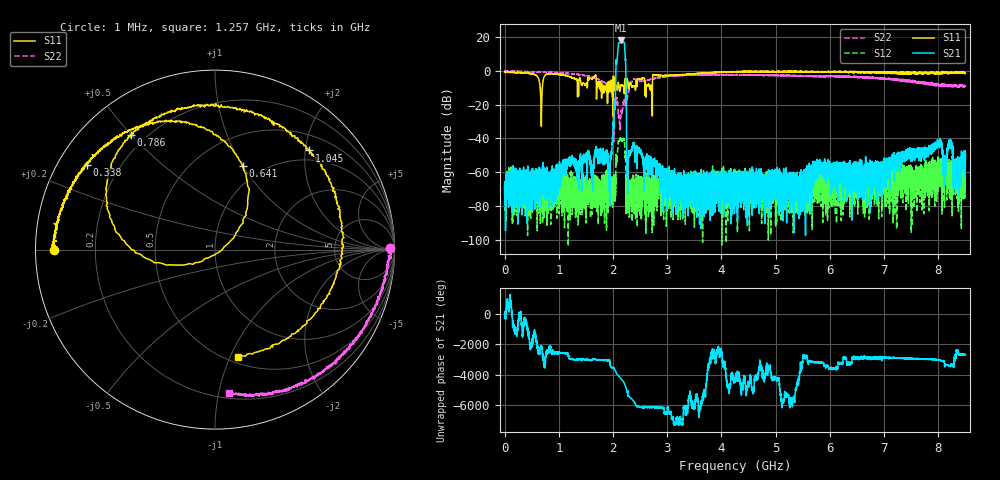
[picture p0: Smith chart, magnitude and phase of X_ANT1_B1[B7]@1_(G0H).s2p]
#  HZ  S  RI  R  50.00
! Rohde & Schwarz Vector Network Analyzer
! Rohde-Schwarz,ZNBT8-20Port,1318700624101681,3.50
! Created: UTC 7/15/2025, 2:11:55 PM
! freq[Hz]  re:S1010  im:S1010  re:S0610  im:S0610  re:S1006  im:S1006  re:S66  im:S66
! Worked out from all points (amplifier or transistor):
!   8500 points, 1 MHz to 8.5 GHz, reference 50 ohm
!   highest |S21| = 17.8 dB at 2.14 GHz (marker M1)
!   |S21| within 3 dB of that: 2.095 GHz to 2.215 GHz (119.9 MHz wide, 5.57 % of centre)
!   unconditionally stable (mu >= 1): start of sweep to end of sweep
!   at 1.417 GHz: K = 302958.83, MAG = -49.5 dB, |S12| = -70.3 dB
!   at 4.251 GHz: K = 231383.66, MAG = -49.8 dB, |S12| = -75.4 dB
!   at 8.5 GHz: K = 103627.89, MAG = -50.5 dB, |S12| = -61.6 dB
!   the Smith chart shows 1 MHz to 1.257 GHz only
!   S11 on the Smith chart (normalised r, x): 1 MHz: 0.05, +0.00; 338 MHz: 0.08, +0.30; 641 MHz: 0.81, +1.00; 786 MHz: 0.14, +0.50; 1.045 GHz: 0.79, +2.07; 1.257 GHz: 0.56, -1.07
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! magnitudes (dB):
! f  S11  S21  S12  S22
! 1 MHz  -0.9  -67.5  -74.5  -0.2
! 338 MHz  -1.3  -68.3  -75.6  -0.6
! 641 MHz  -6.2  -62.3  -70.0  -0.7
! 786 MHz  -2.0  -62.6  -68.6  -0.9
! 1.045 GHz  -2.4  -59.2  -67.8  -1.3
! 1.257 GHz  -4.3  -51.0  -65.4  -1.9
! 1.418 GHz  -8.2  -59.2  -75.0  -2.5
! 1.946 GHz  -11.5  -63.7  -67.0  -10.6
! 2.01 GHz  -3.3  -31.4  -68.4  -29.7
! 2.089 GHz  -8.8  12.3  -45.1  -20.2
! 2.14 GHz  -9.3  17.8  -40.1  -27.3
! 2.205 GHz  -11.9  16.5  -40.6  -17.8
! 2.293 GHz  -9.9  -47.7  -77.2  -11.7
! 2.834 GHz  -2.8  -56.6  -65.0  -4.1
! 4.251 GHz  -0.7  -61.6  -75.4  -2.6
! 5.667 GHz  -0.4  -57.7  -61.9  -3.4
! 7.084 GHz  -1.1  -62.3  -63.1  -4.9
! 8.02 GHz  -1.8  -42.4  -55.3  -8.5
! 8.123 GHz  -1.4  -59.3  -56.4  -9.1
! 8.226 GHz  -1.4  -42.7  -75.7  -8.8
! 8.315 GHz  -1.4  -55.5  -53.0  -8.8
! 8.5 GHz  -1.5  -56.3  -61.6  -9.3
